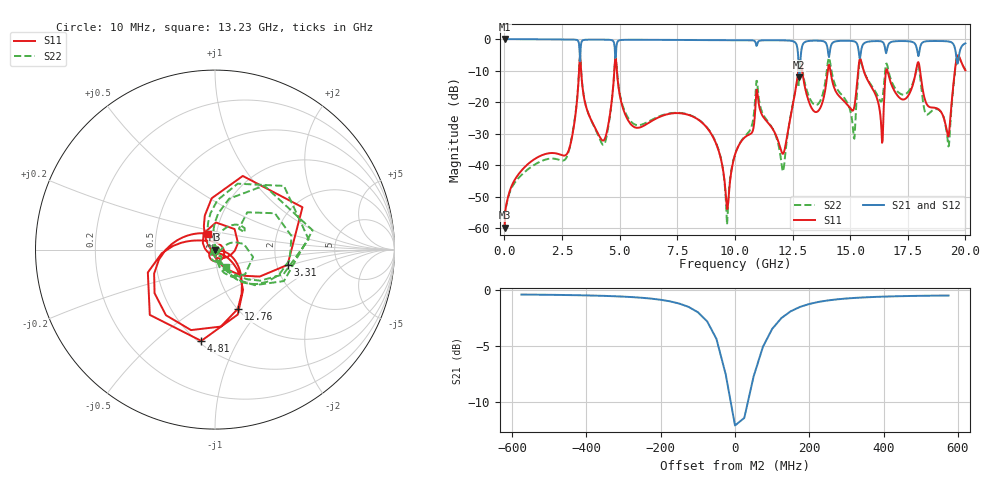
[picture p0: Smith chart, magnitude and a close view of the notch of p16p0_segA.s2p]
! Stitch-density study - 40 x 12 mm symmetric stripline, cut at x=20 mm
! Case: p16p0_segA
! Sweep: 10 MHz - 20 GHz, 25 MHz step, 4 cores
# GHz S MA R 50.000000
! Terminal data exported
! Port[1] = U1.PAD1.SIG
! Port[2] = U2.PAD1.SIG
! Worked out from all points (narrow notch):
!   801 points, 10 MHz to 20 GHz, reference 50 ohm
!   highest |S21| = -0.01 dB at 10 MHz (marker M1); lowest = -12.1 dB at 12.79 GHz (marker M2)
!   notch at M2: 11.8 dB deep, 99.8 MHz wide at half that depth
!   lowest |S11| = -59.9 dB at 10 MHz (marker M3), VSWR 1.00, Z = 50.1 + j0.0495 ohm
!   |S11| at or under -10 dB: start of sweep to 3.241 GHz; 4.88 GHz to 12.75 GHz (7.867 GHz wide, 89.3 % of centre); 18.03 GHz to 19.55 GHz (1.513 GHz wide, 8.05 % of centre)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
!   |S22| runs from -59.9 to -5.1 dB; largest |S21 - S12| = 0
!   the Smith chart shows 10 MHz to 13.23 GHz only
!   S11 on the Smith chart (normalised r, x): 10 MHz: 1.00, +0.00; 3.31 GHz: 2.29, -0.47; 4.81 GHz: 0.52, -0.72; 12.76 GHz: 1.00, -0.76; 13.23 GHz: 0.92, +0.16
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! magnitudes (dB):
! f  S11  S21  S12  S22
! 10 MHz  -59.9  0.0  0.0  -59.9
! 2.685 GHz  -36.7  -0.1  -0.1  -37.7
! 3.31 GHz  -7.7  -2.7  -2.7  -7.5
! 3.36 GHz  -13.1  -0.7  -0.7  -13.0
! 4.285 GHz  -32.2  -0.2  -0.2  -33.6
! 4.81 GHz  -5.8  -6.0  -6.0  -5.6
! 6.685 GHz  -24.9  -0.3  -0.3  -24.6
! 8.81 GHz  -28.4  -0.3  -0.3  -28.3
! 9.66 GHz  -54.0  -0.3  -0.3  -58.9
! 10.01 GHz  -36.6  -0.3  -0.3  -36.6
! 10.98 GHz  -17.5  -1.3  -1.3  -15.1
! 12.09 GHz  -36.5  -0.4  -0.4  -42.0
! 12.76 GHz  -9.0  -7.6  -7.6  -15.1
! 12.79 GHz  -7.3  -12.1  -12.1  -11.2
! 13.23 GHz  -20.4  -0.6  -0.6  -18.6
! 13.36 GHz  -22.3  -0.5  -0.5  -20.2
! 15.13 GHz  -22.6  -0.7  -0.7  -29.3
! 15.46 GHz  -6.5  -4.5  -4.5  -7.0
! 16.36 GHz  -29.0  -0.8  -0.8  -19.8
! 16.68 GHz  -12.0  -1.4  -1.4  -10.8
! 19.23 GHz  -30.5  -0.7  -0.7  -32.4
! 20 GHz  -9.9  -1.4  -1.4  -9.9
